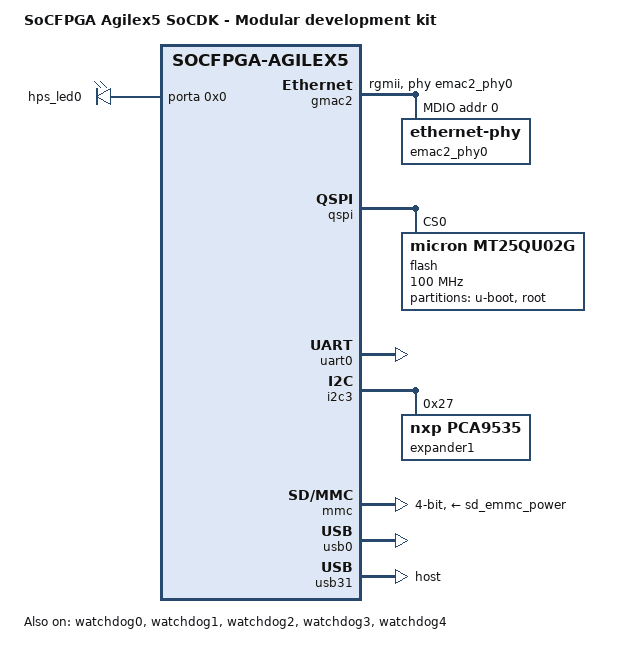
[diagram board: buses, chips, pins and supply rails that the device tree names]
// SPDX-License-Identifier: GPL-2.0-only
/*
 * Copyright (C) 2025, Altera Corporation
 */
#include "socfpga_agilex5.dtsi"

/ {
	model = "SoCFPGA Agilex5 SoCDK - Modular development kit";
	compatible = "intel,socfpga-agilex5-socdk-modular", "intel,socfpga-agilex5";

	aliases {
		serial0 = &uart0;
		ethernet2 = &gmac2;
	};

	chosen {
		stdout-path = "serial0:115200n8";
	};

	leds {
		compatible = "gpio-leds";

		led0 {
			label = "hps_led0";
			gpios = <&porta 0x0 GPIO_ACTIVE_HIGH>;
			linux,default-trigger = "heartbeat";
		};
	};

	memory@80000000 {
		device_type = "memory";
		/* We expect the bootloader to fill in the reg */
		reg = <0x0 0x80000000 0x0 0x0>;
	};
};

&gpio0 {
	status = "okay";
};

&gpio1 {
	status = "okay";
};

&gmac2 {
	status = "okay";
	phy-mode = "rgmii";
	phy-handle = <&emac2_phy0>;
	max-frame-size = <9000>;

	mdio0 {
		compatible = "snps,dwmac-mdio";
		#address-cells = <1>;
		#size-cells = <0>;

		emac2_phy0: ethernet-phy@0 {
			reg = <0>;
		};
	};
};

&osc1 {
	clock-frequency = <25000000>;
};

&qspi {
	status = "okay";
	flash@0 {
		compatible = "micron,mt25qu02g", "jedec,spi-nor";
		reg = <0>;
		spi-max-frequency = <100000000>;
		m25p,fast-read;
		cdns,read-delay = <2>;
		cdns,tshsl-ns = <50>;
		cdns,tsd2d-ns = <50>;
		cdns,tchsh-ns = <4>;
		cdns,tslch-ns = <4>;
		spi-tx-bus-width = <4>;
		spi-rx-bus-width = <4>;

		partitions {
			compatible = "fixed-partitions";
			#address-cells = <1>;
			#size-cells = <1>;

			qspi_boot: partition@0 {
				label = "u-boot";
				reg = <0x0 0x04200000>;
			};

			root: partition@4200000 {
				label = "root";
				reg = <0x04200000 0x0be00000>;
			};
		};
	};
};

&smmu {
	status = "okay";
};

&uart0 {
	status = "okay";
};

&watchdog0 {
	status = "okay";
};

&i3c0 {
	status = "disabled";
};

&i3c1 {
	status = "disabled";
};

&i2c3 {
	status = "okay";

	expander1: gpio@27 {
		compatible = "nxp,pca9535";
		reg = <0x27>;			/* SoM expander address */
		gpio-controller;
		#gpio-cells = <2>;
	};
};

&sd_io_1v8_reg {
	gpios = <&expander1 1 GPIO_ACTIVE_HIGH>;
};

&mmc {
	status = "okay";

	no-mmc;
	disable-wp;
	cap-sd-highspeed;
	sd-uhs-sdr104;
	bus-width = <4>;
	vmmc-supply = <&sd_emmc_power>;
	vqmmc-supply = <&sd_io_1v8_reg>;
	max-frequency = <200000000>;
	sdhci-caps = <0x00000000 0x0000c800>;
	sdhci-caps-mask = <0x00002000 0x0000ff00>;
};

&usb0 {
	status = "okay";
	disable-over-current;
};

&usb31 {
	status = "okay";
	dr_mode = "host";
};

&watchdog1 {
	status = "okay";
};

&watchdog2 {
	status = "okay";
};

&watchdog3 {
	status = "okay";
};

&watchdog4 {
	status = "okay";
};

&temp_volt {
	voltage {
		#address-cells = <1>;
		#size-cells = <0>;
		input@2 {
			label = "0.8V VCC";
			reg = <2>;
		};

		input@3 {
			label = "1.8V VCCIO_SDM";
			reg = <3>;
		};

		input@4 {
			label = "1.8V VCCPT";
			reg = <4>;
		};

		input@5 {
			label = "1.2V VCCCRCORE";
			reg = <5>;
		};

		input@6 {
			label = "0.9V VCCH";
			reg = <6>;
		};

		input@7 {
			label = "0.8V VCCL";
			reg = <7>;
		};
	};

	temperature {
		#address-cells = <1>;
		#size-cells = <0>;

		input@0 {
			label = "Main Die SDM";
			reg = <0x0>;
		};

		input@10001 {
			label = "Main Die corner bottom left max";
			reg = <0x10000>;
		};

		input@30001 {
			label = "Main Die corner bottom right max";
			reg = <0x30000>;
		};

		input@40001 {
			label = "Main Die corner top right max";
			reg = <0x40000>;
		};
	};
};
